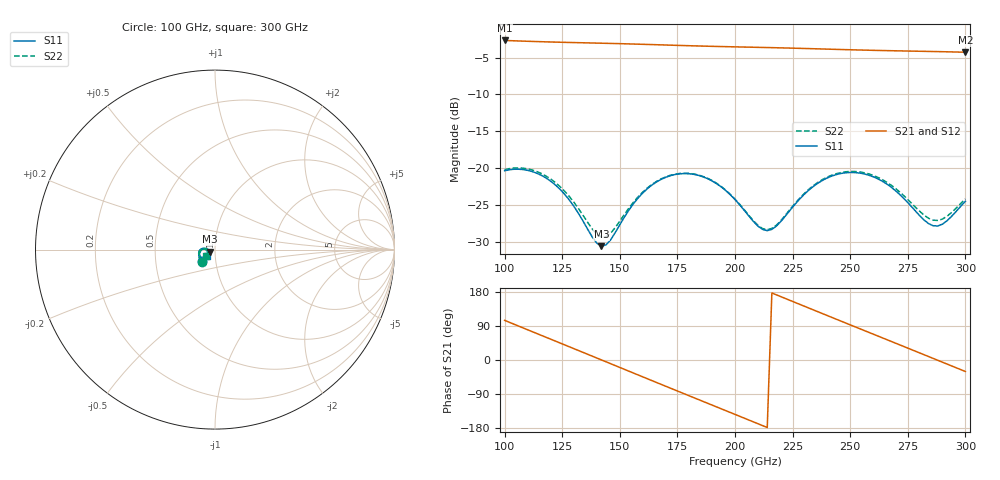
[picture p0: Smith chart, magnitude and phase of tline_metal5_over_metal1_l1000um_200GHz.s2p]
#  GHZ S DB R 50
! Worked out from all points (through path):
!   101 points, 100 GHz to 300 GHz, reference 50 ohm
!   highest |S21| = -2.68 dB at 100 GHz (marker M1); lowest = -4.3 dB at 300 GHz (marker M2)
!   group delay of S21, straight-line fit = 6.87 ps
!   lowest |S11| = -30.6 dB at 142 GHz (marker M3), VSWR 1.06, Z = 47.3 - j1.03 ohm
!   |S11| at or under -10 dB: start of sweep to end of sweep
!   |S22| runs from -29.4 to -20.0 dB; largest |S21 - S12| = 0
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100  -20.38 -138.3  -2.68 104.6  -2.68 104.6  -20.24 -136.6
108  -20.22 -154.1  -2.77 84.7  -2.77 84.7  -20.04 -152.0
116  -21.02 -169.0  -2.85 64.9  -2.85 64.9  -20.77 -166.6
126  -23.56 176.3  -2.94 40.1  -2.94 40.1  -23.15 179.5
134  -27.20 174.7  -3.00 20.2  -3.00 20.2  -26.43 178.2
142  -30.63 -158.3  -3.05 0.3  -3.05 0.3  -29.39 -159.4
146  -29.78 -138.6  -3.08 -9.7  -3.08 -9.7  -28.88 -142.6
154  -25.71 -125.5  -3.15 -29.6  -3.15 -29.6  -25.44 -129.0
168  -21.55 -140.1  -3.28 -64.5  -3.28 -64.5  -21.48 -141.5
176  -20.80 -153.1  -3.36 -84.3  -3.36 -84.3  -20.75 -153.8
184  -21.00 -166.1  -3.43 -104.0  -3.43 -104.0  -20.95 -166.3
200  -24.30 176.2  -3.55 -143.5  -3.55 -143.5  -24.24 176.7
214  -28.52 -159.8  -3.64 -178.2  -3.64 -178.2  -28.40 -159.1
224  -25.71 -136.6  -3.72 157.0  -3.72 157.0  -25.60 -135.8
234  -22.52 -139.7  -3.80 132.3  -3.80 132.3  -22.41 -138.7
250  -20.62 -161.1  -3.95 92.8  -3.95 92.8  -20.48 -159.4
258  -20.98 -172.6  -4.01 73.1  -4.01 73.1  -20.81 -170.6
268  -22.67 175.9  -4.08 48.6  -4.08 48.6  -22.40 178.5
278  -25.75 175.1  -4.14 23.9  -4.14 23.9  -25.23 177.8
286  -27.86 -167.8  -4.18 4.2  -4.18 4.2  -27.10 -167.0
292  -27.19 -150.1  -4.22 -10.6  -4.22 -10.6  -26.57 -151.4
300  -24.53 -141.0  -4.28 -30.4  -4.28 -30.4  -24.22 -142.6
